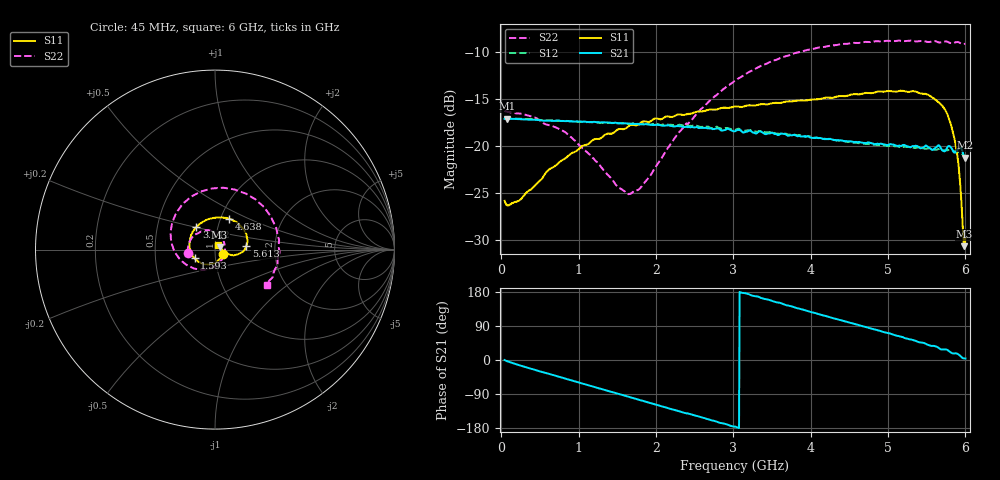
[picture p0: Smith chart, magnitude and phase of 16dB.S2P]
! C:\Users\Aljaz\OneDrive - Univerza v Ljubljani\DOKTORAT\NOVI SA\Slabilec PE43711B\meritve\16dB.S2P
! Touchstone 1.1 file saved by VNA.EXE V1.65 (www.ke5fx.com/gpib/readme.htm)
! 2. 04. 2022 19:15:14
!  Source: HP8510C.07.14: Aug 26  1998
!  Min freq: 4.500000E+007 Hz
!  Max freq: 6.000000E+009 Hz
!  Points: 801
!  Params: S11 S21 S12 S22
# GHZ S DB R 50
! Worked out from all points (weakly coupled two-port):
!   801 points, 45 MHz to 6 GHz, reference 50 ohm
!   highest |S21| = -17.10 dB at 74.78 MHz (marker M1); lowest = -21.2 dB at 6 GHz (marker M2)
!   lowest |S11| = -30.6 dB at 5.985 GHz (marker M3), VSWR 1.06, Z = 52.6 + j1.61 ohm
!   |S11| at or under -10 dB: start of sweep to end of sweep
!   |S22| runs from -25.1 to -8.8 dB; largest |S21 - S12| = 0.0079
!   S11 on the Smith chart (normalised r, x): 45 MHz: 1.09, -0.05; 1.593 GHz: 0.79, -0.08; 3.142 GHz: 0.79, +0.20; 4.638 GHz: 1.10, +0.39; 5.613 GHz: 1.42, +0.06; 6 GHz: 1.03, +0.06
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0.045  -25.81 -29.1  -17.12 -0.2  -17.04 -0.1  -16.26 -173.5
0.074775  -26.23 -26.9  -17.10 -3.0  -17.06 -2.9  -16.36 -179.6
0.491625  -23.74 -76.5  -17.25 -29.5  -17.22 -29.4  -17.23 141.8
1.042463  -20.02 -124.5  -17.43 -61.6  -17.45 -61.5  -20.15 93.1
1.5933  -18.20 -157.6  -17.59 -93.9  -17.58 -93.2  -24.77 11.0
1.786838  -17.65 -168.5  -17.69 -105.3  -17.73 -104.2  -24.56 -32.3
2.032481  -17.12 -179.0  -17.76 -119.7  -17.69 -119.1  -21.78 -77.0
2.560987  -16.36 154.7  -18.07 -149.8  -17.93 -150.1  -16.31 -135.9
3.0225  -15.81 135.0  -18.44 -175.8  -18.28 -176.5  -13.07 -175.5
3.1416  -15.79 129.7  -18.54 176.9  -18.35 176.0  -12.47 175.1
3.543563  -15.41 113.4  -18.72 153.0  -18.66 152.6  -10.90 144.5
4.019963  -15.07 93.6  -19.15 125.7  -19.03 124.9  -9.73 109.6
4.377262  -14.71 77.7  -19.39 105.7  -19.45 105.0  -9.22 84.2
4.637794  -14.52 65.3  -19.60 91.0  -19.70 90.6  -9.05 65.7
5.009981  -14.17 46.0  -19.88 70.7  -19.99 70.6  -8.85 39.8
5.612925  -15.09 6.4  -20.20 36.1  -20.40 35.5  -8.89 -3.5
5.754356  -16.40 -5.6  -20.33 27.7  -20.48 26.6  -8.92 -14.3
5.858569  -19.21 -17.1  -20.70 17.3  -20.57 18.8  -9.03 -23.4
5.910675  -21.94 -18.3  -20.29 14.7  -20.65 14.7  -8.99 -26.4
5.962781  -28.05 -0.9  -20.61 5.5  -20.89 9.9  -9.20 -30.8
5.985112  -30.62 31.4  -21.06 4.3  -21.02 8.0  -9.18 -33.3
6  -29.73 57.7  -21.23 3.9  -21.14 6.8  -9.14 -34.7
